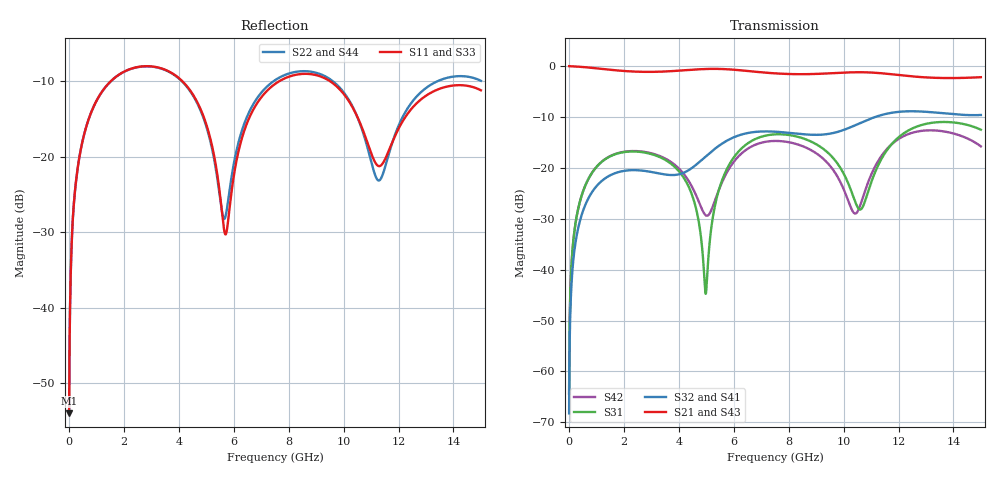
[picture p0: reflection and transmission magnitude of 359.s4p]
! Created with skrf 1.8.0 (http://scikit-rf.org).
# GHz S RI R 50.0
!freq ReS11 ImS11 ReS12 ImS12 ReS13 ImS13
! ReS14 ImS14
! ReS21 ImS21 ReS22 ImS22 ReS23 ImS23
! ReS24 ImS24
! ReS31 ImS31 ReS32 ImS32 ReS33 ImS33
! ReS34 ImS34
! ReS41 ImS41 ReS42 ImS42 ReS43 ImS43
! ReS44 ImS44
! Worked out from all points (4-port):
!   2499 points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, 5 MHz to 15 GHz, reference 50 ohm
!   strongest paths, dB at 5 MHz, 3.476 GHz, 7.19 GHz, 11.1 GHz, 15 GHz:
!     S21: 0.0, -1.1, -1.3, -1.3, -2.2
!     S43: 0.0, -1.1, -1.3, -1.3, -2.2
!     S32: -68.2, -21.3, -12.8, -10.1, -9.6
!     S41: -68.2, -21.3, -12.9, -10.1, -9.7
!     S31: -64.4, -18.3, -13.6, -21.5, -12.5
!     S42: -64.4, -18.1, -14.8, -20.2, -15.8
!   lowest |S11| = -54.0 dB at 5 MHz (marker M1), VSWR 1.00, Z = 50.2 + j0.121 ohm
!   |S11| at or under -10 dB: start of sweep to 1.52 GHz; 4.131 GHz to 7.652 GHz (3.521 GHz wide, 59.8 % of centre); 9.511 GHz to end of sweep
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0.005  0.00159 0.00121  0.9984 -0.00309  7.85e-05 0.0006  -7.64e-05 -0.000381
       0.9984 -0.00309  0.00159 0.00121  -7.64e-05 -0.000381  7.85e-05 0.0006
       7.85e-05 0.0006  -7.64e-05 -0.000381  0.00159 0.00121  0.9984 -0.00309
       -7.64e-05 -0.000381  7.85e-05 0.0006  0.9984 -0.00309  0.00159 0.00121
0.3126303  0.0227 0.0798  0.9691 -0.1924  0.00987 0.0358  -0.00832 -0.0225
           0.9691 -0.1924  0.0227 0.0798  -0.00833 -0.0225  0.01 0.0357
           0.00987 0.0358  -0.00833 -0.0225  0.0227 0.0798  0.9691 -0.1924
           -0.00832 -0.0225  0.01 0.0357  0.9691 -0.1924  0.0227 0.0798
1.519383  0.2554 0.1862  0.584 -0.7096  0.1145 0.063  -0.0841 -0.012
          0.584 -0.7096  0.2547 0.1867  -0.0842 -0.0119  0.1165 0.0605
          0.1145 0.063  -0.0842 -0.0119  0.2553 0.1863  0.584 -0.7096
          -0.0841 -0.012  0.1165 0.0605  0.584 -0.7096  0.2548 0.1866
4.977074  0.0864 -0.1449  -0.837 -0.4198  0.00569 0.00109  -0.055 0.1171
          -0.837 -0.4198  0.0903 -0.1368  -0.0531 0.118  -0.0298 -0.0169
          0.00569 0.00109  -0.0531 0.118  0.0863 -0.1443  -0.8372 -0.4196
          -0.055 0.1171  -0.0298 -0.0169  -0.8372 -0.4196  0.0898 -0.1365
8.841184  0.35 -0.0371  0.0334 0.8346  0.1408 -0.1123  0.1982 -0.068
          0.0334 0.8346  0.3606 -0.0595  0.1981 -0.0742  0.136 -0.059
          0.1408 -0.1123  0.1981 -0.0742  0.3508 -0.0349  0.0332 0.8339
          0.1982 -0.068  0.136 -0.059  0.0332 0.8339  0.3632 -0.0614
11.49229  0.0928 0.0195  0.8441 0.0439  0.0348 0.1334  0.00781 -0.3363
          0.8441 0.0439  0.0781 0.0286  -0.00243 -0.3367  0.00263 0.144
          0.0348 0.1334  -0.00243 -0.3367  0.0927 0.0173  0.844 0.0443
          0.00781 -0.3363  0.00263 0.144  0.844 0.0443  0.0782 0.0293
15  0.262 -0.0859  -0.1291 -0.7674  0.1444 -0.1882  -0.3057 0.1125
    -0.1291 -0.7674  0.2911 -0.1299  -0.3041 0.1305  0.1418 -0.0798
    0.1444 -0.1882  -0.3041 0.1305  0.2649 -0.0739  -0.1278 -0.766
    -0.3057 0.1125  0.1418 -0.0798  -0.1278 -0.766  0.2965 -0.1406
